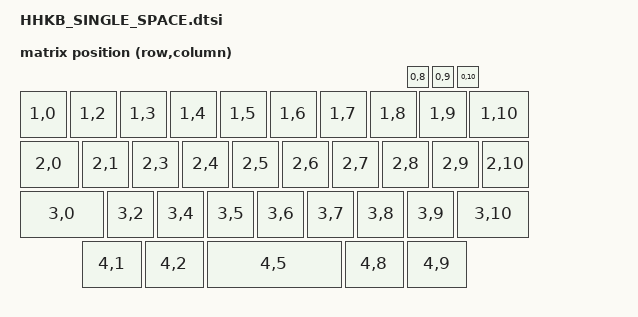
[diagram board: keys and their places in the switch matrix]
#include <physical_layouts.dtsi>
#include "position_map.dtsi"

/ {
    qaz_ble_hhkb_single_space_layout: qaz_ble_hhkb_single_space_layout {
        compatible = "zmk,physical-layout";
        display-name = "HHKB_single_space";
        keys  //                     w   h    x    y     rot    rx    ry
            = <&key_physical_attrs 100 100    0   50       0     0     0>
            , <&key_physical_attrs 100 100  100   50       0     0     0>
            , <&key_physical_attrs 100 100  200   50       0     0     0>
            , <&key_physical_attrs 100 100  300   50       0     0     0>
            , <&key_physical_attrs 100 100  400   50       0     0     0>
            , <&key_physical_attrs 100 100  500   50       0     0     0>
            , <&key_physical_attrs 100 100  600   50       0     0     0>
            , <&key_physical_attrs 100 100  700   50       0     0     0>
            , <&key_physical_attrs 100 100  800   50       0     0     0>
            , <&key_physical_attrs 125 100  900   50       0     0     0>
            , <&key_physical_attrs 125 100    0  150       0     0     0>
            , <&key_physical_attrs 100 100  125  150       0     0     0>
            , <&key_physical_attrs 100 100  225  150       0     0     0>
            , <&key_physical_attrs 100 100  325  150       0     0     0>
            , <&key_physical_attrs 100 100  425  150       0     0     0>
            , <&key_physical_attrs 100 100  525  150       0     0     0>
            , <&key_physical_attrs 100 100  625  150       0     0     0>
            , <&key_physical_attrs 100 100  725  150       0     0     0>
            , <&key_physical_attrs 100 100  825  150       0     0     0>
            , <&key_physical_attrs 100 100  925  150       0     0     0>
            , <&key_physical_attrs 175 100    0  250       0     0     0>
            , <&key_physical_attrs 100 100  175  250       0     0     0>
            , <&key_physical_attrs 100 100  275  250       0     0     0>
            , <&key_physical_attrs 100 100  375  250       0     0     0>
            , <&key_physical_attrs 100 100  475  250       0     0     0>
            , <&key_physical_attrs 100 100  575  250       0     0     0>
            , <&key_physical_attrs 100 100  675  250       0     0     0>
            , <&key_physical_attrs 100 100  775  250       0     0     0>
            , <&key_physical_attrs 150 100  875  250       0     0     0>

            , <&key_physical_attrs 125 100  125  350       0     0     0>
            , <&key_physical_attrs 125 100  250  350       0     0     0>
            , <&key_physical_attrs 275 100  375  350       0     0     0>
            , <&key_physical_attrs 125 100  650  350       0     0     0>
            , <&key_physical_attrs 125 100  775  350       0     0     0>

            , <&key_physical_attrs  50  50  775    0       0     0     0>
            , <&key_physical_attrs  50  50  825    0       0     0     0>
            , <&key_physical_attrs  50  50  875    0       0     0     0>
            ;
    };
    qaz_ble_hhkb_single_space_transform: qaz_ble_hhkb_single_space_transform {
        compatible = "zmk,matrix-transform";
        rows       = <5>;
        columns    = <11>;
        map = <
            /* row-0 */ RC(1,0)RC(1,2) RC(1,3) RC(1,4) RC(1,5) RC(1,6) RC(1,7) RC(1,8) RC(1,9) RC(1,10)
            /* row-1 */ RC(2,0) RC(2,1) RC(2,3) RC(2,4) RC(2,5) RC(2,6) RC(2,7) RC(2,8) RC(2,9) RC(2,10)
            /* row-2 */ RC(3,0) RC(3,2) RC(3,4) RC(3,5) RC(3,6) RC(3,7) RC(3,8) RC(3,9) RC(3,10)
            /* row-3 */ RC(4,1) RC(4,2) RC(4,5) RC(4,8) RC(4,9)
            /* tactile switches */ RC(0,8) RC(0,9) RC(0,10)
        >;
    };
};

&layouts_qaz_ble_position_map {
    qaz_ble_hhkb_single_space_posmap: hhkb_single_space {
        physical-layout = <&qaz_ble_hhkb_single_space_layout>;
        positions
            = <                     34 35 36>
            , < 0  1  2  3  4  5  6  7  8  9>
            , <10 11 12 13 14 15 16 17 18 19>
            , < 20 21 22 23 24 25 26 27 28  >
            , <39 29 30   31  38   32 33 37 >;
    };
};
